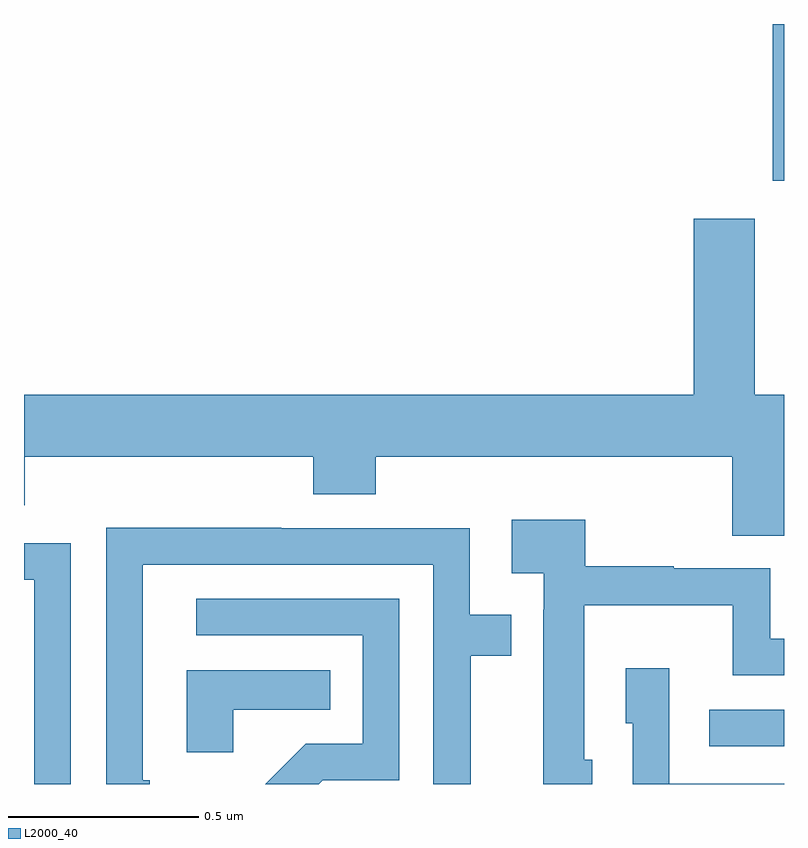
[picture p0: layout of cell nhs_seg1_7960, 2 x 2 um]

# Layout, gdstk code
import gdstk
lib = gdstk.Library(unit=1e-6, precision=1e-09)
def R(c, l, rs):  # rectangles x0, y0, x1, y1
    for r in rs: c.add(gdstk.rectangle(r[:2], r[2:], *l))
def P(c, l, *ps):  # polygons
    for p in ps: c.add(gdstk.Polygon(p, *l))
L2000_40 = (2000, 40)

nhs_seg1_7960 = lib.new_cell('nhs_seg1_7960')
R(nhs_seg1_7960, L2000_40, [(211.803,556.299,212,556.395), (211.97,557.786,212,558.199)])
P(nhs_seg1_7960, L2000_40, [(212,557.224),(211.923,557.224),(211.923,557.686),(211.763,557.686),(211.763,557.224),(210,557.224),(210,556.932),(210.002,556.932),(210.002,557.06),(210.761,557.06),(210.761,556.961),(210.926,556.961),(210.926,557.06),(211.864,557.06),(211.864,556.852),(212,556.852)],
  [(211.495,556.263),(211.474,556.263),(211.474,556.67),(211.865,556.67),(211.865,556.485),(212,556.485),(212,556.581),(211.964,556.581),(211.964,556.767),(211.71,556.767),(211.71,556.772),(211.477,556.772),(211.477,556.894),(211.284,556.894),(211.284,556.754),(211.368,556.754),(211.368,556.658),(211.367,556.658),(211.367,556.199),(211.495,556.199)],
  [(210.331,556.209),(210.312,556.209),(210.312,556.776),(211.077,556.776),(211.077,556.199),(211.175,556.199),(211.175,556.536),(211.282,556.536),(211.282,556.644),(211.173,556.644),(211.173,556.872),(210.677,556.872),(210.677,556.874),(210.216,556.874),(210.216,556.199),(210.331,556.199)],
  [(210.123,556.833),(210,556.833),(210,556.737),(210.027,556.737),(210.027,556.199),(210.123,556.199)],
  [(210.786,556.209),(210.987,556.209),(210.987,556.686),(210.453,556.686),(210.453,556.59),(210.891,556.59),(210.891,556.305),(210.741,556.305),(210.635,556.199),(210.776,556.199)],
  [(212,556.2),(211.698,556.2),(211.698,556.504),(211.583,556.504),(211.583,556.359),(211.602,556.359),(211.602,556.199),(212,556.199)],
  [(210.55,556.394),(210.806,556.394),(210.806,556.498),(210.428,556.498),(210.428,556.282),(210.55,556.282)])

lib.write_gds('nhs_seg1_7960.gds')
